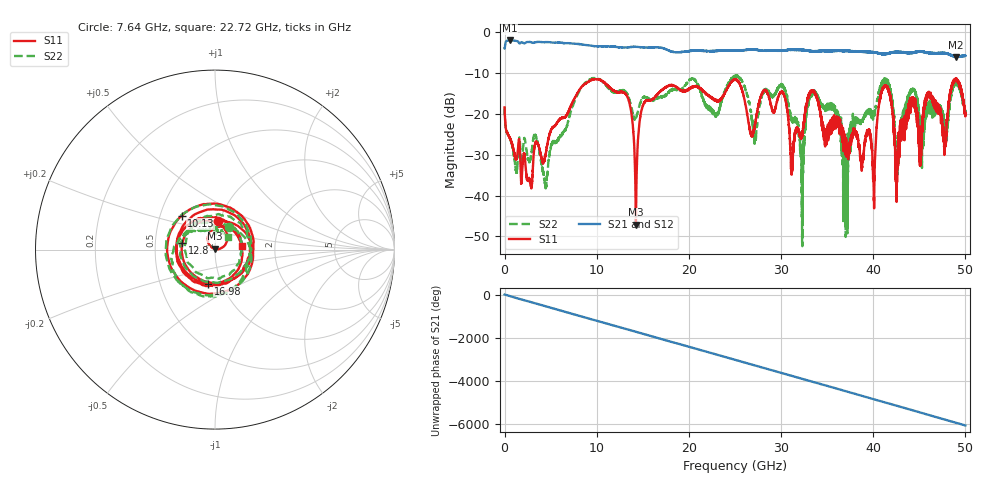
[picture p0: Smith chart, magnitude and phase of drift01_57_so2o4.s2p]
!Created with skrf (http://scikit-rf.org).
# Hz S RI R 50.0
!freq ReS11 ImS11 ReS21 ImS21 ReS12 ImS12 ReS22 ImS22
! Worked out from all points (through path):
!   10001 points, 300 kHz to 50 GHz, reference 50 ohm
!   highest |S21| = -2.00 dB at 570.3 MHz (marker M1); lowest = -6.1 dB at 48.96 GHz (marker M2)
!   group delay of S21, straight-line fit = 336 ps
!   lowest |S11| = -47.2 dB at 14.25 GHz (marker M3), VSWR 1.01, Z = 50 + j0.438 ohm
!   |S11| at or under -10 dB: start of sweep to end of sweep
!   |S22| runs from -52.4 to -10.6 dB; largest |S21 - S12| = 0.019
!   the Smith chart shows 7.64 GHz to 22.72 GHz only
!   S11 on the Smith chart (normalised r, x): 7.64 GHz: 0.98, +0.32; 10.13 GHz: 0.64, +0.26; 12.8 GHz: 0.69, +0.05; 16.98 GHz: 0.87, -0.34; 22.72 GHz: 1.35, +0.06
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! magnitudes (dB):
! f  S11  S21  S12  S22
! 300 kHz  -18.4  -4.0  -4.1  -18.2
! 570.3 MHz  -26.0  -2.0  -2.0  -26.0
! 4.44 GHz  -30.0  -2.4  -2.4  -38.0
! 7.64 GHz  -16.0  -2.8  -2.8  -16.6
! 8.335 GHz  -13.5  -2.9  -3.0  -13.5
! 10.13 GHz  -11.5  -3.4  -3.4  -11.4
! 12.8 GHz  -14.7  -3.7  -3.7  -14.2
! 14.25 GHz  -47.2  -3.6  -3.5  -21.1
! 16.67 GHz  -15.0  -3.7  -3.7  -15.9
! 16.98 GHz  -14.3  -3.8  -3.8  -15.7
! 22.72 GHz  -16.5  -4.6  -4.6  -19.9
! 25 GHz  -11.5  -4.5  -4.5  -10.9
! 27.17 GHz  -22.6  -4.3  -4.3  -26.3
! 30.22 GHz  -14.8  -4.5  -4.5  -13.5
! 32.27 GHz  -25.3  -4.3  -4.3  -42.7
! 33.34 GHz  -14.3  -4.6  -4.6  -14.6
! 36.98 GHz  -27.5  -4.5  -4.5  -44.4
! 40.05 GHz  -38.4  -4.9  -4.9  -20.1
! 41.67 GHz  -13.9  -5.1  -5.1  -13.4
! 42.6 GHz  -30.4  -4.8  -4.8  -31.9
! 48.96 GHz  -11.4  -6.1  -6.0  -12.9
! 50 GHz  -19.8  -5.8  -5.7  -19.4
